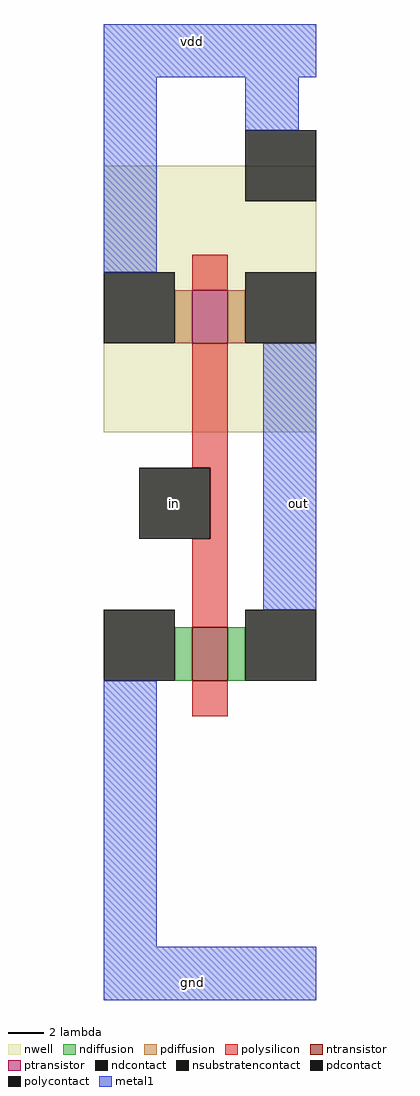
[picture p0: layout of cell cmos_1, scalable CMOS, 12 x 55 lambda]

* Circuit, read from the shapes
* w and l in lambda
.subckt cmos_1 gnd in out vdd
M1 out in gnd VSUBS nfet w=3 l=2
M2 out in vdd vdd pfet w=3 l=2
.ends

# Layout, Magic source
magic
tech scmos
<< nwell >>
rect -3465 133 -3453 148
<< polysilicon >>
rect -3460 141 -3458 143
rect -3460 131 -3458 138
rect -3459 127 -3458 131
rect -3460 122 -3458 127
rect -3460 117 -3458 119
<< ndiffusion >>
rect -3461 119 -3460 122
rect -3458 119 -3457 122
<< pdiffusion >>
rect -3461 138 -3460 141
rect -3458 138 -3457 141
<< metal1 >>
rect -3465 153 -3453 156
rect -3465 142 -3462 153
rect -3457 150 -3454 153
rect -3456 123 -3453 138
rect -3465 104 -3462 119
rect -3465 101 -3453 104
<< ntransistor >>
rect -3460 119 -3458 122
<< ptransistor >>
rect -3460 138 -3458 141
<< polycontact >>
rect -3463 127 -3459 131
<< ndcontact >>
rect -3465 119 -3461 123
rect -3457 119 -3453 123
<< pdcontact >>
rect -3465 138 -3461 142
rect -3457 138 -3453 142
<< nsubstratencontact >>
rect -3457 146 -3453 150
<< labels >>
rlabel metal1 -3460 155 -3460 155 5 vdd
rlabel metal1 -3460 102 -3460 102 1 gnd
rlabel polycontact -3461 129 -3461 129 3 in
rlabel metal1 -3454 129 -3454 129 7 out
<< end >>
